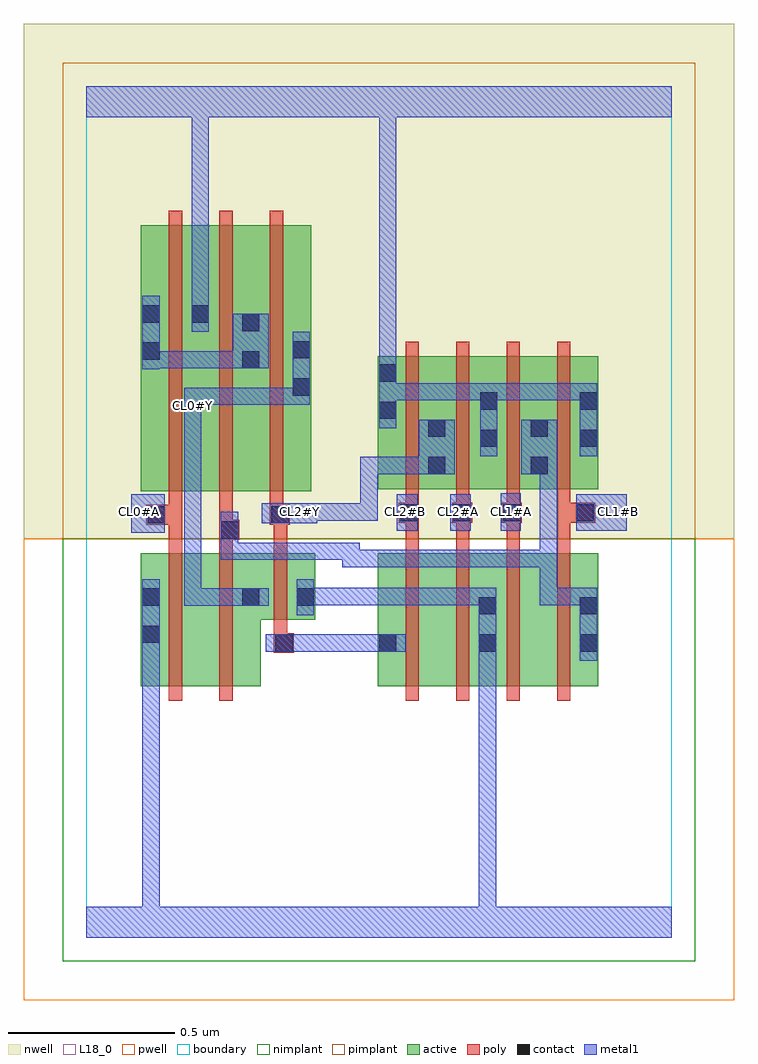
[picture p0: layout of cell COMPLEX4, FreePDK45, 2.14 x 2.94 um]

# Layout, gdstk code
import gdstk
lib = gdstk.Library(unit=1e-6, precision=1e-09)
def R(c, l, rs):  # rectangles x0, y0, x1, y1
    for r in rs: c.add(gdstk.rectangle(r[:2], r[2:], *l))
def A(c, l, x, y, w, h, nx, ny, dx, dy):  # array of equal rectangles
    R(c, l, [(x+i*dx, y+j*dy, x+i*dx+w, y+j*dy+h) for i in range(nx) for j in range(ny)])
active = (1, 0)
pwell = (2, 0)
nwell = (3, 0)
nimplant = (4, 0)
pimplant = (5, 0)
poly = (9, 0)
contact = (10, 0)
metal1 = (11, 0)
L18_0 = (18, 0)
boundary = (235, 0)

complex4 = lib.new_cell('COMPLEX4')
R(complex4, active, [(0.164,0.756,0.224,1.156), (0.164,0.756,0.344,1.156), (0.344,0.756,0.524,1.156), (0.464,0.756,0.524,1.156), (0.876,0.756,0.936,1.156), (0.876,0.756,1.056,1.156), (1.056,0.756,1.236,1.156), (1.176,0.756,1.36,1.156), (1.176,0.756,1.236,1.062), (1.36,0.756,1.54,1.156), (1.48,0.756,1.54,1.156), (0.464,0.956,0.688,1.156), (0.628,0.956,0.688,1.156), (0.164,1.342,0.224,2.044), (0.164,1.342,0.372,2.142), (0.312,1.342,0.524,2.142), (0.464,1.342,0.676,2.142), (0.616,1.342,0.676,2.044), (0.876,1.348,0.936,1.748), (0.876,1.348,1.084,1.748), (1.024,1.348,1.24,1.748), (1.18,1.348,1.392,1.748), (1.332,1.348,1.54,1.748), (1.48,1.348,1.54,1.644), (1.024,1.39,1.084,1.644), (1.332,1.39,1.392,1.644), (0.464,1.47,0.524,2.044), (1.18,1.472,1.24,1.644), (0.312,1.608,0.372,2.142)])
R(complex4, pwell, [(-0.188,-0.188,1.948,1.2)])
R(complex4, nwell, [(-0.188,1.2,1.948,2.748)])
R(complex4, nimplant, [(-0.072,-0.072,1.832,1.2)])
R(complex4, pimplant, [(-0.072,1.2,1.832,2.632)])
A(complex4, poly, 0.96, 0.712, 0.04, 0.488, 4, 2, 0.152, 0.592)
A(complex4, poly, 0.96, 1.16, 0.04, 0.128, 4, 1, 0.152, 0)
A(complex4, poly, 0.96, 1.268, 0.04, 0.076, 4, 1, 0.152, 0)
A(complex4, poly, 0.248, 1.298, 0.04, 0.888, 3, 1, 0.152, 0)
R(complex4, poly, [(0.248,0.712,0.288,1.2), (0.4,0.712,0.44,1.2), (0.564,0.856,0.624,0.916), (0.564,0.876,0.604,0.952), (0.564,0.912,0.604,1.2), (0.248,1.16,0.288,1.282), (0.4,1.16,0.44,1.236), (0.564,1.16,0.604,1.282), (0.4,1.196,0.46,1.256), (0.4,1.216,0.44,1.256), (0.4,1.216,0.44,1.256), (0.4,1.216,0.44,1.338), (0.18,1.242,0.288,1.302), (0.552,1.242,0.612,1.302), (0.564,1.242,0.604,1.282), (0.564,1.242,0.604,1.282), (0.94,1.248,1,1.308), (0.96,1.248,1,1.288), (0.96,1.248,1,1.288), (1.1,1.248,1.16,1.308), (1.112,1.248,1.152,1.288), (1.112,1.248,1.152,1.288), (1.25,1.248,1.31,1.308), (1.264,1.248,1.304,1.288), (1.264,1.248,1.304,1.288), (1.416,1.248,1.53,1.308), (0.248,1.262,0.288,1.338), (0.248,1.262,0.288,1.302), (0.248,1.262,0.288,1.302), (0.552,1.262,0.592,1.338), (1.416,1.268,1.456,1.308), (1.416,1.268,1.456,1.308)])
R(complex4, contact, [(0.568,0.86,0.62,0.912), (0.88,0.86,0.932,0.912), (1.18,0.86,1.232,0.912), (1.484,0.86,1.536,0.912), (0.168,0.886,0.22,0.938), (1.18,0.972,1.232,1.024), (1.484,0.972,1.536,1.024), (0.168,0.998,0.22,1.05), (0.468,0.998,0.52,1.05), (0.632,0.998,0.684,1.05), (0.404,1.2,0.456,1.252), (0.184,1.246,0.236,1.298), (0.556,1.246,0.608,1.298), (0.944,1.252,0.996,1.304), (1.104,1.252,1.156,1.304), (1.254,1.252,1.306,1.304), (1.474,1.252,1.526,1.304), (1.028,1.394,1.08,1.446), (1.336,1.394,1.388,1.446), (1.184,1.476,1.236,1.528), (1.484,1.476,1.536,1.528), (1.028,1.506,1.08,1.558), (1.336,1.506,1.388,1.558), (0.88,1.56,0.932,1.612), (1.184,1.588,1.236,1.64), (1.484,1.588,1.536,1.64), (0.62,1.63,0.672,1.682), (0.88,1.672,0.932,1.724), (0.468,1.712,0.52,1.764), (0.168,1.738,0.22,1.79), (0.62,1.742,0.672,1.794), (0.468,1.824,0.52,1.876), (0.168,1.85,0.22,1.902), (0.316,1.85,0.368,1.902)])
R(complex4, metal1, [(0,0,1.76,0.092), (0.168,0.04,0.22,0.092), (0.168,0.04,0.22,0.092), (0.168,0.04,0.22,0.092), (0.168,0.04,0.22,0.092), (0.168,0.04,0.22,0.092), (0.168,0.04,0.22,0.092), (0.168,0.04,0.22,0.092), (0.168,0.04,0.22,0.092), (0.168,0.04,0.22,0.092), (0.168,0.04,0.22,0.092), (0.168,0.04,0.22,0.092), (0.168,0.04,0.22,0.092), (0.168,0.04,0.22,0.91), (1.18,0.04,1.232,0.884), (1.18,0.832,1.232,1.052), (1.18,0.832,1.232,0.884), (1.18,0.832,1.232,0.884), (1.18,0.832,1.232,0.884), (1.18,0.832,1.232,0.884), (1.18,0.832,1.232,0.884), (1.18,0.832,1.232,0.884), (1.18,0.832,1.232,0.884), (1.18,0.832,1.232,0.884), (1.18,0.832,1.232,0.884), (1.18,0.832,1.232,0.884), (1.18,0.832,1.232,0.884), (1.18,0.832,1.232,0.884), (1.484,0.832,1.536,1.052), (0.168,0.858,0.22,1.078), (0.54,0.86,0.648,0.912), (0.596,0.86,0.648,0.912), (0.596,0.86,0.648,0.912), (0.596,0.86,0.904,0.912), (0.852,0.86,0.96,0.912), (0.632,0.97,0.684,1.078), (0.294,0.998,0.346,1.05), (0.294,0.998,0.346,1.05), (0.294,0.998,0.346,1.05), (0.294,0.998,0.492,1.05), (0.294,0.998,0.346,1.598), (0.44,0.998,0.548,1.05), (0.632,1,0.932,1.052), (0.88,1,0.932,1.052), (0.88,1,0.932,1.052), (0.88,1,0.932,1.052), (0.88,1,1.122,1.052), (1.07,1,1.122,1.052), (1.07,1,1.122,1.052), (1.07,1,1.122,1.052), (1.07,1,1.232,1.052), (1.18,1,1.232,1.052), (1.18,1,1.232,1.052), (1.18,1,1.232,1.052), (1.18,1,1.232,1.052), (1.18,1,1.232,1.052), (1.18,1,1.232,1.052), (1.364,1,1.536,1.052), (1.364,1,1.416,1.052), (1.364,1,1.416,1.052), (1.364,1,1.416,1.052), (1.364,1,1.416,1.166), (0.77,1.114,0.932,1.166), (0.77,1.114,0.822,1.188), (0.88,1.114,0.932,1.166), (0.88,1.114,1.122,1.166), (1.07,1.114,1.122,1.166), (1.07,1.114,1.122,1.166), (1.07,1.114,1.122,1.166), (1.07,1.114,1.232,1.166), (1.18,1.114,1.232,1.166), (1.18,1.114,1.232,1.166), (1.18,1.114,1.232,1.166), (1.18,1.114,1.416,1.166), (1.364,1.114,1.416,1.166), (1.364,1.114,1.416,1.446), (0.404,1.136,0.566,1.188), (0.404,1.136,0.456,1.224), (0.514,1.136,0.566,1.188), (0.514,1.136,0.822,1.188), (0.77,1.136,0.822,1.188), (0.77,1.136,0.822,1.188), (0.404,1.172,0.456,1.224), (0.404,1.172,0.456,1.28), (0.134,1.218,0.236,1.334), (0.934,1.224,0.996,1.334), (1.094,1.224,1.156,1.334), (1.246,1.224,1.306,1.336), (1.474,1.224,1.626,1.334), (0.528,1.246,0.694,1.306), (0.642,1.254,0.694,1.306), (0.642,1.254,0.694,1.306), (0.642,1.254,0.876,1.306), (0.824,1.254,0.876,1.306), (0.824,1.254,0.876,1.446), (0.824,1.394,0.876,1.446), (0.824,1.394,1.012,1.446), (0.96,1.394,1.012,1.446), (0.96,1.394,1.052,1.446), (1,1.394,1.108,1.558), (1.308,1.394,1.416,1.558), (1.364,1.394,1.416,1.446), (1.364,1.394,1.416,1.446), (1.184,1.448,1.236,1.668), (1.484,1.448,1.536,1.668), (0.88,1.532,0.932,1.752), (0.294,1.546,0.346,1.654), (0.294,1.602,0.346,1.654), (0.294,1.602,0.346,1.654), (0.294,1.602,0.346,1.654), (0.294,1.602,0.346,1.654), (0.294,1.602,0.47,1.654), (0.418,1.602,0.47,1.654), (0.418,1.602,0.47,1.654), (0.418,1.602,0.47,1.654), (0.418,1.602,0.672,1.654), (0.62,1.602,0.672,1.822), (0.62,1.602,0.672,1.654), (0.62,1.602,0.672,1.654), (0.88,1.616,0.932,1.668), (0.88,1.616,0.932,1.668), (0.88,1.616,1.122,1.668), (1.07,1.616,1.122,1.668), (1.07,1.616,1.122,1.668), (1.07,1.616,1.122,1.668), (1.07,1.616,1.236,1.668), (1.184,1.616,1.236,1.668), (1.184,1.616,1.236,1.668), (1.184,1.616,1.418,1.668), (1.366,1.616,1.438,1.668), (1.366,1.616,1.418,1.668), (1.386,1.616,1.536,1.668), (1.386,1.616,1.438,1.668), (0.88,1.7,0.932,1.752), (0.88,1.7,0.932,1.752), (0.88,1.7,0.932,1.752), (0.88,1.7,0.932,1.752), (0.88,1.7,0.932,1.752), (0.88,1.7,0.932,1.752), (0.88,1.7,0.932,1.752), (0.88,1.7,0.932,1.752), (0.88,1.7,0.932,1.752), (0.88,1.7,0.932,1.752), (0.88,1.7,0.932,1.752), (0.88,1.7,0.932,1.752), (0.88,1.7,0.932,1.752), (0.88,1.7,0.932,1.752), (0.88,1.7,0.932,1.752), (0.88,1.7,0.932,1.752), (0.88,1.7,0.932,2.52), (0.168,1.71,0.22,1.93), (0.168,1.712,0.22,1.764), (0.168,1.712,0.22,1.764), (0.168,1.712,0.346,1.764), (0.294,1.712,0.346,1.764), (0.294,1.712,0.346,1.764), (0.294,1.712,0.346,1.764), (0.294,1.712,0.346,1.764), (0.294,1.712,0.346,1.764), (0.294,1.712,0.492,1.764), (0.44,1.712,0.548,1.876), (0.316,1.822,0.368,1.93), (0.316,1.878,0.368,1.93), (0.316,1.878,0.368,1.93), (0.316,1.878,0.368,1.93), (0.316,1.878,0.368,1.93), (0.316,1.878,0.368,1.93), (0.316,1.878,0.368,1.93), (0.316,1.878,0.368,1.93), (0.316,1.878,0.368,1.93), (0.316,1.878,0.368,2.52), (0,2.468,1.76,2.56)])
A(complex4, L18_0, 0.934, 1.254, 0.052, 0.052, 3, 1, 0.16, 0)
R(complex4, L18_0, [(0,0,1.76,0.092), (0.168,0.04,0.22,0.092), (0.168,0.04,0.22,0.092), (0.168,0.04,0.22,0.092), (0.168,0.04,0.22,0.092), (0.168,0.04,0.22,0.092), (0.168,0.04,0.22,0.092), (0.168,0.04,0.22,0.092), (0.168,0.04,0.22,0.092), (0.168,0.04,0.22,0.092), (0.168,0.04,0.22,0.092), (0.168,0.04,0.22,0.092), (0.168,0.04,0.22,0.092), (0.168,0.04,0.22,0.91), (1.18,0.04,1.232,0.884), (1.18,0.832,1.232,0.884), (1.18,0.832,1.232,0.884), (1.18,0.832,1.232,0.884), (1.18,0.832,1.232,0.884), (1.18,0.832,1.232,0.884), (1.18,0.832,1.232,0.884), (1.18,0.832,1.232,0.884), (1.18,0.832,1.232,0.884), (1.18,0.832,1.232,0.884), (1.18,0.832,1.232,0.884), (1.18,0.832,1.232,0.884), (1.18,0.832,1.232,0.884), (1.18,0.832,1.232,1.052), (0.168,0.858,0.22,1.078), (0.54,0.86,0.648,0.912), (0.596,0.86,0.648,0.912), (0.596,0.86,0.648,0.912), (0.596,0.86,0.904,0.912), (0.852,0.86,0.96,0.912), (0.632,0.97,0.684,1.078), (0.294,0.998,0.346,1.05), (0.294,0.998,0.346,1.05), (0.294,0.998,0.346,1.05), (0.294,0.998,0.346,1.598), (0.294,0.998,0.492,1.05), (0.44,0.998,0.548,1.05), (0.632,1,0.932,1.052), (0.88,1,0.932,1.052), (0.88,1,0.932,1.052), (0.88,1,0.932,1.052), (0.88,1,1.122,1.052), (1.07,1,1.122,1.052), (1.07,1,1.122,1.052), (1.07,1,1.122,1.052), (1.07,1,1.232,1.052), (1.18,1,1.232,1.052), (1.18,1,1.232,1.052), (1.18,1,1.232,1.052), (1.18,1,1.232,1.052), (1.18,1,1.232,1.052), (1.18,1,1.232,1.052), (0.134,1.218,0.236,1.334), (0.934,1.224,0.996,1.334), (1.094,1.224,1.156,1.334), (1.246,1.224,1.306,1.336), (1.474,1.224,1.626,1.334), (0.528,1.246,0.694,1.306), (0.134,1.254,0.186,1.306), (0.614,1.254,0.666,1.306), (0.642,1.254,0.694,1.306), (0.642,1.254,0.694,1.306), (0.642,1.254,0.876,1.306), (0.824,1.254,0.876,1.306), (0.824,1.254,0.876,1.446), (1.574,1.254,1.626,1.306), (0.824,1.394,0.876,1.446), (0.824,1.394,1.012,1.446), (0.96,1.394,1.012,1.446), (0.96,1.394,1.052,1.446), (1,1.394,1.108,1.558), (1.184,1.448,1.236,1.668), (1.484,1.448,1.536,1.668), (0.88,1.532,0.932,1.752), (0.294,1.546,0.346,1.654), (0.294,1.574,0.346,1.626), (0.294,1.602,0.346,1.654), (0.294,1.602,0.346,1.654), (0.294,1.602,0.346,1.654), (0.294,1.602,0.346,1.654), (0.294,1.602,0.47,1.654), (0.418,1.602,0.47,1.654), (0.418,1.602,0.47,1.654), (0.418,1.602,0.47,1.654), (0.418,1.602,0.672,1.654), (0.62,1.602,0.672,1.654), (0.62,1.602,0.672,1.654), (0.62,1.602,0.672,1.822), (0.88,1.616,0.932,1.668), (0.88,1.616,0.932,1.668), (0.88,1.616,1.122,1.668), (1.07,1.616,1.122,1.668), (1.07,1.616,1.122,1.668), (1.07,1.616,1.122,1.668), (1.07,1.616,1.236,1.668), (1.184,1.616,1.236,1.668), (1.184,1.616,1.236,1.668), (1.184,1.616,1.418,1.668), (1.366,1.616,1.418,1.668), (1.366,1.616,1.438,1.668), (1.386,1.616,1.438,1.668), (1.386,1.616,1.536,1.668), (0.88,1.7,0.932,1.752), (0.88,1.7,0.932,1.752), (0.88,1.7,0.932,1.752), (0.88,1.7,0.932,1.752), (0.88,1.7,0.932,1.752), (0.88,1.7,0.932,1.752), (0.88,1.7,0.932,1.752), (0.88,1.7,0.932,1.752), (0.88,1.7,0.932,1.752), (0.88,1.7,0.932,1.752), (0.88,1.7,0.932,1.752), (0.88,1.7,0.932,1.752), (0.88,1.7,0.932,1.752), (0.88,1.7,0.932,1.752), (0.88,1.7,0.932,1.752), (0.88,1.7,0.932,1.752), (0.88,1.7,0.932,2.52), (0.316,1.822,0.368,1.93), (0.316,1.878,0.368,1.93), (0.316,1.878,0.368,1.93), (0.316,1.878,0.368,1.93), (0.316,1.878,0.368,1.93), (0.316,1.878,0.368,1.93), (0.316,1.878,0.368,1.93), (0.316,1.878,0.368,1.93), (0.316,1.878,0.368,1.93), (0.316,1.878,0.368,2.52), (0,2.468,1.76,2.56)])
R(complex4, boundary, [(0,0,1.76,2.56)])
complex4.add(gdstk.Label('CL0#A', (0.16,1.28), layer=11, texttype=0))
complex4.add(gdstk.Label('CL0#Y', (0.32,1.6), layer=11, texttype=0))
complex4.add(gdstk.Label('CL1#A', (1.28,1.28), layer=11, texttype=0))
complex4.add(gdstk.Label('CL1#B', (1.6,1.28), layer=11, texttype=0))
complex4.add(gdstk.Label('CL2#A', (1.12,1.28), layer=11, texttype=0))
complex4.add(gdstk.Label('CL2#B', (0.96,1.28), layer=11, texttype=0))
complex4.add(gdstk.Label('CL2#Y', (0.64,1.28), layer=11, texttype=0))

lib.write_gds('COMPLEX4.gds')
